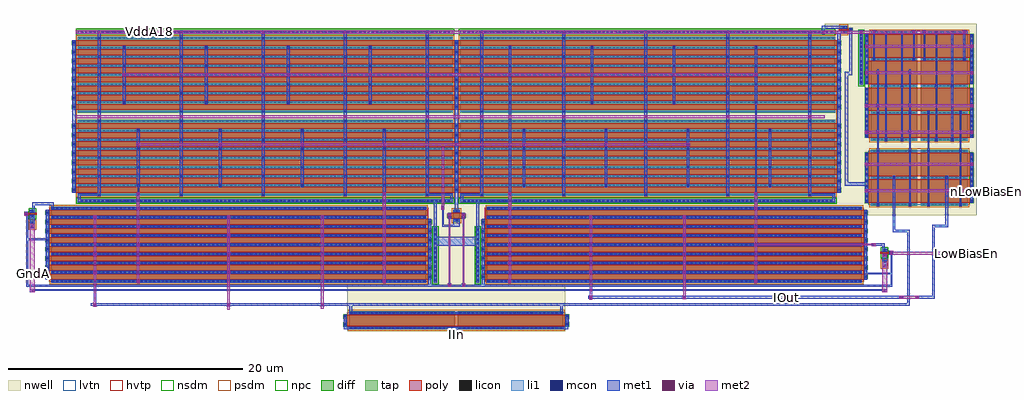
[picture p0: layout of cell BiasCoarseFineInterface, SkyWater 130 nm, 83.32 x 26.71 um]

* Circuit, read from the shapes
.subckt BiasCoarseFineInterface GndA IIn IOut LowBiasEn VddA18 nLowBiasEn
XM1 n1 LowBiasEn GndA GndA sky130_fd_pr__nfet_01v8 w=0.42 l=0.15
XM2 n2 LowBiasEn GndA GndA sky130_fd_pr__nfet_01v8 w=0.42 l=0.15
XM3 n3 LowBiasEn n1 VddA18 sky130_fd_pr__pfet_01v8_hvt w=32 l=0.5 m=8
XM4 n1 n4 VddA18 VddA18 sky130_fd_pr__pfet_01v8 w=32 l=0.5 m=16
XM5 n2 n4 VddA18 VddA18 sky130_fd_pr__pfet_01v8 w=32 l=0.5 m=16
XM6 n3 IIn IIn VddA18 sky130_fd_pr__pfet_01v8_lvt w=9 l=1 m=2
XM7 n4 LowBiasEn n1 VddA18 sky130_fd_pr__pfet_01v8 w=0.55 l=0.5
XM8 IOut LowBiasEn n2 VddA18 sky130_fd_pr__pfet_01v8_hvt w=32 l=0.5 m=8
XM9 VddA18 nLowBiasEn n4 VddA18 sky130_fd_pr__pfet_01v8 w=0.55 l=0.15
XM10 n3 nLowBiasEn n5 VddA18 sky130_fd_pr__pfet_01v8_lvt w=4 l=2 m=2
XM11 n5 n5 n6 VddA18 sky130_fd_pr__pfet_01v8 w=4 l=2 m=2
XM12 VddA18 n5 n6 VddA18 sky130_fd_pr__pfet_01v8 w=4 l=2 m=2
XM13 IOut nLowBiasEn n7 VddA18 sky130_fd_pr__pfet_01v8_lvt w=4 l=2 m=2
XM14 n7 n5 n8 VddA18 sky130_fd_pr__pfet_01v8 w=4 l=2 m=2
XM15 VddA18 n5 n8 VddA18 sky130_fd_pr__pfet_01v8 w=4 l=2 m=2
.ends

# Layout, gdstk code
import gdstk
lib = gdstk.Library(unit=1e-6, precision=1e-09)
def R(c, l, rs):  # rectangles x0, y0, x1, y1
    for r in rs: c.add(gdstk.rectangle(r[:2], r[2:], *l))
def A(c, l, x, y, w, h, nx, ny, dx, dy):  # array of equal rectangles
    R(c, l, [(x+i*dx, y+j*dy, x+i*dx+w, y+j*dy+h) for i in range(nx) for j in range(ny)])
nwell = (64, 20)
diff = (65, 20)
tap = (65, 44)
poly = (66, 20)
licon = (66, 44)
li1 = (67, 20)
mcon = (67, 44)
met1 = (68, 20)
via = (68, 44)
met2 = (69, 20)
hvtp = (78, 44)
nsdm = (93, 44)
psdm = (94, 20)
npc = (95, 20)
lvtn = (125, 44)

biascoarsefineinterface = lib.new_cell('BiasCoarseFineInterface')
R(biascoarsefineinterface, nwell, [(-20.365,-11.47,-1.725,-7.49), (-45.795,-7.49,23.765,-1.565), (-45.795,-1.565,33.38,-0.64), (-43.52,-0.64,33.38,14.415), (20.4,14.415,33.38,14.815)])
R(biascoarsefineinterface, diff, [(-20.185,-11.29,-11.185,-9.76), (-10.905,-11.29,-1.905,-9.76), (-45.615,-7.31,-13.615,-0.82), (-8.415,-7.31,23.585,-0.82), (25.315,-5.095,25.735,-4.415), (-11.29,-2.1,-10.74,-1.07), (-47.43,-1.765,-47.01,-1.085), (24.33,-0.75,28.33,4.06), (28.63,-0.75,32.63,4.06), (-43.34,0.1,-11.34,6.59), (-10.69,0.1,21.31,6.59), (24.33,4.81,28.33,14.18), (28.63,4.81,32.63,14.18), (-43.34,7.185,-11.34,13.675), (-10.69,7.185,21.31,13.675), (21.77,13.955,22.32,14.635)])
R(biascoarsefineinterface, tap, [(-12.965,-7.31,-12.675,-2.59), (-9.355,-7.31,-9.065,-2.59), (25.315,-6,25.735,-5.365), (-47.43,-2.67,-47.01,-2.035), (-43.34,-0.46,-11.34,-0.17), (-10.69,-0.46,21.31,-0.17), (23.39,9.58,23.68,14.18), (-43.34,13.945,-11.34,14.235), (-10.69,13.945,21.19,14.235)])
A(biascoarsefineinterface, poly, -46.075, -7.045, 32.92, 0.5, 1, 7, 0, 0.78)
A(biascoarsefineinterface, poly, -8.875, -7.045, 32.92, 0.5, 1, 7, 0, 0.78)
A(biascoarsefineinterface, poly, -43.8, 0.365, 65.57, 0.5, 1, 8, 0, 0.78)
A(biascoarsefineinterface, poly, 23.87, 5.075, 9.22, 2, 1, 4, 0, 2.28)
A(biascoarsefineinterface, poly, -43.8, 7.45, 65.57, 0.5, 1, 8, 0, 0.78)
R(biascoarsefineinterface, poly, [(-20.645,-11.025,-1.445,-10.025), (25.925,-4.92,26.195,-4.83), (25.165,-4.83,26.195,-4.68), (25.925,-4.68,26.195,-4.59), (-11.75,-1.835,-10.28,-1.335), (-47.89,-1.59,-47.62,-1.5), (-46.075,-1.585,-13.465,-1.085), (-8.565,-1.585,24.045,-1.085), (-47.89,-1.5,-46.86,-1.35), (-47.89,-1.35,-47.62,-1.26), (23.87,-0.485,33.09,1.515), (23.87,1.795,33.09,3.795), (22.51,14.13,22.78,14.22), (21.62,14.22,22.78,14.37), (22.51,14.37,22.78,14.46)])
A(biascoarsefineinterface, licon, -20.02, -11.25, 0.17, 0.17, 26, 2, 0.34, 1.28)
A(biascoarsefineinterface, licon, -10.74, -11.25, 0.17, 0.17, 26, 2, 0.34, 1.28)
A(biascoarsefineinterface, licon, -45.51, -7.27, 0.17, 0.17, 94, 9, 0.34, 0.78)
A(biascoarsefineinterface, licon, -8.31, -7.27, 0.17, 0.17, 94, 9, 0.34, 0.78)
A(biascoarsefineinterface, licon, -46.025, -6.88, 0.17, 0.17, 1, 8, 0, 0.78)
A(biascoarsefineinterface, licon, -13.375, -6.88, 0.17, 0.17, 1, 7, 0, 0.78)
A(biascoarsefineinterface, licon, -8.825, -6.88, 0.17, 0.17, 1, 7, 0, 0.78)
A(biascoarsefineinterface, licon, 23.825, -6.88, 0.17, 0.17, 1, 8, 0, 0.78)
A(biascoarsefineinterface, licon, 24.545, -0.71, 0.17, 0.17, 11, 3, 0.34, 2.28)
A(biascoarsefineinterface, licon, 28.845, -0.71, 0.17, 0.17, 11, 3, 0.34, 2.28)
A(biascoarsefineinterface, licon, 23.92, -0.405, 0.17, 0.17, 1, 3, 0, 0.415)
A(biascoarsefineinterface, licon, 32.87, -0.405, 0.17, 0.17, 1, 3, 0, 0.415)
A(biascoarsefineinterface, licon, -43.065, -0.4, 0.17, 0.17, 93, 2, 0.34, 14.405)
A(biascoarsefineinterface, licon, -10.415, -0.4, 0.17, 0.17, 93, 1, 0.34, 0)
A(biascoarsefineinterface, licon, -43.235, 0.14, 0.17, 0.17, 94, 9, 0.34, 0.78)
A(biascoarsefineinterface, licon, -10.585, 0.14, 0.17, 0.17, 94, 9, 0.34, 0.78)
A(biascoarsefineinterface, licon, -43.75, 0.53, 0.17, 0.17, 3, 8, 32.65, 0.78)
A(biascoarsefineinterface, licon, 23.92, 1.875, 0.17, 0.17, 1, 3, 0, 0.42)
A(biascoarsefineinterface, licon, 32.87, 1.875, 0.17, 0.17, 1, 3, 0, 0.42)
A(biascoarsefineinterface, licon, 24.545, 4.85, 0.17, 0.17, 11, 5, 0.34, 2.28)
A(biascoarsefineinterface, licon, 28.845, 4.85, 0.17, 0.17, 11, 5, 0.34, 2.28)
A(biascoarsefineinterface, licon, 23.92, 5.155, 0.17, 0.17, 1, 3, 0, 0.42)
A(biascoarsefineinterface, licon, 32.87, 5.155, 0.17, 0.17, 1, 3, 0, 0.42)
A(biascoarsefineinterface, licon, -43.235, 7.225, 0.17, 0.17, 94, 9, 0.34, 0.78)
A(biascoarsefineinterface, licon, -10.585, 7.225, 0.17, 0.17, 94, 9, 0.34, 0.78)
A(biascoarsefineinterface, licon, 23.92, 7.435, 0.17, 0.17, 1, 3, 0, 0.415)
A(biascoarsefineinterface, licon, 32.87, 7.435, 0.17, 0.17, 1, 3, 0, 0.415)
A(biascoarsefineinterface, licon, -43.75, 7.615, 0.17, 0.17, 3, 8, 32.65, 0.78)
A(biascoarsefineinterface, licon, 23.92, 9.715, 0.17, 0.17, 1, 3, 0, 0.415)
A(biascoarsefineinterface, licon, 32.87, 9.715, 0.17, 0.17, 1, 3, 0, 0.415)
A(biascoarsefineinterface, licon, 23.45, 9.785, 0.17, 0.17, 1, 6, 0, 0.34)
A(biascoarsefineinterface, licon, 23.92, 11.995, 0.17, 0.17, 1, 3, 0, 0.42)
A(biascoarsefineinterface, licon, 32.87, 11.995, 0.17, 0.17, 1, 3, 0, 0.42)
A(biascoarsefineinterface, licon, 23.45, 12.085, 0.17, 0.17, 1, 6, 0, 0.34)
A(biascoarsefineinterface, licon, -10.415, 14.005, 0.17, 0.17, 92, 1, 0.34, 0)
R(biascoarsefineinterface, licon, [(-20.595,-10.945,-20.425,-10.775), (-1.665,-10.945,-1.495,-10.775), (-20.595,-10.275,-20.425,-10.105), (-1.665,-10.275,-1.495,-10.105), (-12.905,-7.155,-12.735,-6.985), (-9.295,-7.155,-9.125,-6.985), (-12.905,-6.815,-12.735,-6.645), (-9.295,-6.815,-9.125,-6.645), (-12.905,-6.355,-12.735,-6.185), (-9.295,-6.355,-9.125,-6.185), (-12.905,-6.015,-12.735,-5.845), (-9.295,-6.015,-9.125,-5.845), (25.44,-5.94,25.61,-5.77), (25.44,-5.6,25.61,-5.43), (-12.905,-5.575,-12.735,-5.405), (-9.295,-5.575,-9.125,-5.405), (-12.905,-5.235,-12.735,-5.065), (-9.295,-5.235,-9.125,-5.065), (25.44,-5.055,25.61,-4.885), (25.975,-4.84,26.145,-4.67), (-12.905,-4.795,-12.735,-4.625), (-9.295,-4.795,-9.125,-4.625), (25.44,-4.625,25.61,-4.455), (-12.905,-4.455,-12.735,-4.285), (-9.295,-4.455,-9.125,-4.285), (-12.905,-4.015,-12.735,-3.845), (-9.295,-4.015,-9.125,-3.845), (-12.905,-3.675,-12.735,-3.505), (-9.295,-3.675,-9.125,-3.505), (-12.905,-3.235,-12.735,-3.065), (-9.295,-3.235,-9.125,-3.065), (-12.905,-2.895,-12.735,-2.725), (-9.295,-2.895,-9.125,-2.725), (-47.305,-2.61,-47.135,-2.44), (-47.305,-2.27,-47.135,-2.1), (-11.1,-2.06,-10.93,-1.89), (-47.305,-1.725,-47.135,-1.555), (-11.7,-1.67,-11.53,-1.5), (-10.5,-1.67,-10.33,-1.5), (-47.84,-1.51,-47.67,-1.34), (-47.305,-1.295,-47.135,-1.125), (-11.1,-1.28,-10.93,-1.11), (23.92,0.845,24.09,1.015), (32.87,0.845,33.04,1.015), (23.92,1.265,24.09,1.435), (32.87,1.265,33.04,1.435), (23.92,3.13,24.09,3.3), (32.87,3.13,33.04,3.3), (23.92,3.545,24.09,3.715), (32.87,3.545,33.04,3.715), (23.92,6.41,24.09,6.58), (32.87,6.41,33.04,6.58), (23.92,6.825,24.09,6.995), (32.87,6.825,33.04,6.995), (23.92,8.685,24.09,8.855), (32.87,8.685,33.04,8.855), (23.92,9.105,24.09,9.275), (32.87,9.105,33.04,9.275), (23.92,10.965,24.09,11.135), (32.87,10.965,33.04,11.135), (23.92,11.385,24.09,11.555), (32.87,11.385,33.04,11.555), (23.92,13.25,24.09,13.42), (32.87,13.25,33.04,13.42), (23.92,13.665,24.09,13.835), (32.87,13.665,33.04,13.835), (21.96,13.995,22.13,14.165), (20.87,14.005,21.04,14.175), (22.56,14.21,22.73,14.38), (21.96,14.425,22.13,14.595)])
A(biascoarsefineinterface, li1, -45.615, -7.27, 32, 0.17, 1, 9, 0, 0.78)
A(biascoarsefineinterface, li1, -8.415, -7.27, 32, 0.17, 1, 9, 0, 0.78)
A(biascoarsefineinterface, li1, 24.33, -0.71, 4, 0.17, 1, 3, 0, 2.28)
A(biascoarsefineinterface, li1, 28.63, -0.71, 4, 0.17, 1, 3, 0, 2.28)
A(biascoarsefineinterface, li1, -43.34, 0.14, 32, 0.17, 1, 9, 0, 0.78)
A(biascoarsefineinterface, li1, -10.69, 0.14, 32, 0.17, 1, 9, 0, 0.78)
A(biascoarsefineinterface, li1, -43.78, 0.365, 0.23, 5.96, 3, 2, 32.65, 7.085)
A(biascoarsefineinterface, li1, 24.33, 4.85, 4, 0.17, 1, 5, 0, 2.28)
A(biascoarsefineinterface, li1, 28.63, 4.85, 4, 0.17, 1, 5, 0, 2.28)
A(biascoarsefineinterface, li1, -43.34, 7.225, 32, 0.17, 1, 9, 0, 0.78)
A(biascoarsefineinterface, li1, -10.69, 7.225, 32, 0.17, 1, 9, 0, 0.78)
R(biascoarsefineinterface, li1, [(-20.165,-11.25,-1.905,-11.08), (-20.625,-11.025,-20.395,-10.025), (-1.695,-11.025,-1.465,-10.025), (-20.165,-9.97,-1.905,-9.8), (-12.955,-7.325,-12.685,-2.6), (-9.345,-7.325,-9.075,-2.6), (-46.055,-7.045,-45.825,-1.085), (-13.405,-7.045,-13.175,-1.865), (-8.855,-7.045,-8.625,-1.865), (23.795,-7.045,24.025,-1.085), (25.315,-5.99,25.735,-5.375), (25.315,-5.055,25.735,-4.885), (25.945,-4.92,26.175,-4.59), (25.315,-4.625,25.735,-4.455), (-47.43,-2.66,-47.01,-1.555), (-11.29,-2.06,-10.74,-1.89), (-11.73,-1.835,-11.5,-1.335), (-10.53,-1.835,-10.3,-1.335), (-47.87,-1.59,-47.64,-1.26), (-47.43,-1.295,-47.01,-1.125), (-11.29,-1.28,-10.74,-1.11), (23.89,-0.485,24.12,3.795), (32.84,-0.485,33.07,3.795), (-43.34,-0.45,-11.34,-0.18), (-10.69,-0.45,21.31,-0.18), (26.235,1.74,26.405,1.755), (30.75,1.74,30.92,1.755), (31.915,4.02,32.085,4.025), (23.89,5.075,24.12,9.355), (32.84,5.075,33.07,9.355), (23.4,9.59,23.67,14.17), (23.89,9.635,24.12,13.915), (32.84,9.635,33.07,13.915), (-43.34,13.955,-11.34,14.225), (-10.69,13.955,21.31,14.225), (29.86,13.965,30.03,13.97), (21.77,13.995,22.32,14.165), (22.53,14.13,22.76,14.46), (21.77,14.425,22.32,14.595)])
A(biascoarsefineinterface, mcon, -20.09, -11.25, 0.17, 0.17, 25, 2, 0.36, 1.28)
A(biascoarsefineinterface, mcon, -10.81, -11.25, 0.17, 0.17, 25, 2, 0.36, 1.28)
A(biascoarsefineinterface, mcon, -45.54, -7.27, 0.17, 0.17, 89, 9, 0.36, 0.78)
A(biascoarsefineinterface, mcon, -8.34, -7.27, 0.17, 0.17, 89, 9, 0.36, 0.78)
A(biascoarsefineinterface, mcon, -46.025, -6.88, 0.17, 0.17, 1, 8, 0, 0.78)
A(biascoarsefineinterface, mcon, -13.375, -6.88, 0.17, 0.17, 1, 7, 0, 0.78)
A(biascoarsefineinterface, mcon, -8.825, -6.88, 0.17, 0.17, 1, 7, 0, 0.78)
A(biascoarsefineinterface, mcon, 23.825, -6.88, 0.17, 0.17, 1, 8, 0, 0.78)
A(biascoarsefineinterface, mcon, 23.92, -0.405, 0.17, 0.17, 1, 3, 0, 0.415)
A(biascoarsefineinterface, mcon, 32.87, -0.405, 0.17, 0.17, 1, 3, 0, 0.415)
A(biascoarsefineinterface, mcon, -43.085, -0.4, 0.17, 0.17, 88, 2, 0.36, 14.405)
A(biascoarsefineinterface, mcon, -10.435, -0.4, 0.17, 0.17, 88, 2, 0.36, 14.405)
A(biascoarsefineinterface, mcon, -41.595, 0.14, 0.17, 0.17, 5, 5, 7, 1.56)
A(biascoarsefineinterface, mcon, -8.945, 0.14, 0.17, 0.17, 5, 5, 7, 1.56)
A(biascoarsefineinterface, mcon, -43.75, 0.53, 0.17, 0.17, 3, 8, 32.65, 0.78)
A(biascoarsefineinterface, mcon, -38.265, 0.92, 0.17, 0.17, 4, 4, 7, 1.56)
A(biascoarsefineinterface, mcon, -5.345, 0.92, 0.17, 0.17, 4, 4, 7, 1.56)
A(biascoarsefineinterface, mcon, 23.92, 1.875, 0.17, 0.17, 1, 3, 0, 0.42)
A(biascoarsefineinterface, mcon, 32.87, 1.875, 0.17, 0.17, 1, 3, 0, 0.42)
A(biascoarsefineinterface, mcon, 25.565, 4.85, 0.17, 0.17, 1, 3, 0, 4.56)
A(biascoarsefineinterface, mcon, 26.92, 4.85, 0.17, 0.17, 1, 3, 0, 4.56)
A(biascoarsefineinterface, mcon, 31.215, 4.85, 0.17, 0.17, 1, 3, 0, 4.56)
A(biascoarsefineinterface, mcon, 23.92, 5.155, 0.17, 0.17, 1, 3, 0, 0.42)
A(biascoarsefineinterface, mcon, 32.87, 5.155, 0.17, 0.17, 1, 3, 0, 0.42)
A(biascoarsefineinterface, mcon, -41.595, 7.225, 0.17, 0.17, 5, 5, 7, 1.56)
A(biascoarsefineinterface, mcon, -8.945, 7.225, 0.17, 0.17, 5, 5, 7, 1.56)
A(biascoarsefineinterface, mcon, 23.92, 7.435, 0.17, 0.17, 1, 3, 0, 0.415)
A(biascoarsefineinterface, mcon, 32.87, 7.435, 0.17, 0.17, 1, 3, 0, 0.415)
A(biascoarsefineinterface, mcon, -43.75, 7.615, 0.17, 0.17, 3, 8, 32.65, 0.78)
A(biascoarsefineinterface, mcon, -39.465, 8.005, 0.17, 0.17, 4, 4, 7, 1.56)
A(biascoarsefineinterface, mcon, -6.545, 8.005, 0.17, 0.17, 4, 4, 7, 1.56)
A(biascoarsefineinterface, mcon, 23.92, 9.715, 0.17, 0.17, 1, 3, 0, 0.415)
A(biascoarsefineinterface, mcon, 32.87, 9.715, 0.17, 0.17, 1, 3, 0, 0.415)
A(biascoarsefineinterface, mcon, 23.45, 9.735, 0.17, 0.17, 1, 6, 0, 0.36)
A(biascoarsefineinterface, mcon, 23.92, 11.995, 0.17, 0.17, 1, 3, 0, 0.42)
A(biascoarsefineinterface, mcon, 32.87, 11.995, 0.17, 0.17, 1, 3, 0, 0.42)
A(biascoarsefineinterface, mcon, 23.45, 12.035, 0.17, 0.17, 1, 6, 0, 0.36)
R(biascoarsefineinterface, mcon, [(-20.595,-10.945,-20.425,-10.775), (-1.665,-10.945,-1.495,-10.775), (-20.595,-10.275,-20.425,-10.105), (-1.665,-10.275,-1.495,-10.105), (-12.905,-7.165,-12.735,-6.995), (-9.295,-7.165,-9.125,-6.995), (-12.905,-6.805,-12.735,-6.635), (-9.295,-6.805,-9.125,-6.635), (-12.905,-6.365,-12.735,-6.195), (-9.295,-6.365,-9.125,-6.195), (-12.905,-6.005,-12.735,-5.835), (-9.295,-6.005,-9.125,-5.835), (25.44,-5.95,25.61,-5.78), (25.44,-5.59,25.61,-5.42), (-12.905,-5.585,-12.735,-5.415), (-9.295,-5.585,-9.125,-5.415), (-12.905,-5.225,-12.735,-5.055), (-9.295,-5.225,-9.125,-5.055), (25.44,-5.055,25.61,-4.885), (25.975,-4.84,26.145,-4.67), (-12.905,-4.805,-12.735,-4.635), (-9.295,-4.805,-9.125,-4.635), (25.44,-4.625,25.61,-4.455), (-12.905,-4.445,-12.735,-4.275), (-9.295,-4.445,-9.125,-4.275), (-12.905,-4.025,-12.735,-3.855), (-9.295,-4.025,-9.125,-3.855), (-12.905,-3.665,-12.735,-3.495), (-9.295,-3.665,-9.125,-3.495), (-12.905,-3.245,-12.735,-3.075), (-9.295,-3.245,-9.125,-3.075), (-12.905,-2.885,-12.735,-2.715), (-9.295,-2.885,-9.125,-2.715), (-47.305,-2.62,-47.135,-2.45), (-47.305,-2.26,-47.135,-2.09), (-11.1,-2.06,-10.93,-1.89), (-47.305,-1.725,-47.135,-1.555), (-11.7,-1.67,-11.53,-1.5), (-10.5,-1.67,-10.33,-1.5), (-47.84,-1.51,-47.67,-1.34), (-47.305,-1.295,-47.135,-1.125), (-11.1,-1.28,-10.93,-1.11), (24.875,-0.71,25.045,-0.54), (27.605,-0.71,27.775,-0.54), (29.18,-0.71,29.35,-0.54), (31.915,-0.71,32.085,-0.54), (23.92,0.845,24.09,1.015), (32.87,0.845,33.04,1.015), (23.92,1.265,24.09,1.435), (32.87,1.265,33.04,1.435), (26.235,1.585,26.405,1.755), (30.75,1.585,30.92,1.755), (23.92,3.13,24.09,3.3), (32.87,3.13,33.04,3.3), (23.92,3.545,24.09,3.715), (32.87,3.545,33.04,3.715), (24.875,3.85,25.045,4.02), (27.605,3.85,27.775,4.02), (29.18,3.85,29.35,4.02), (31.915,3.855,32.085,4.025), (29.86,4.85,30.03,5.02), (23.92,6.41,24.09,6.58), (32.87,6.41,33.04,6.58), (23.92,6.825,24.09,6.995), (32.87,6.825,33.04,6.995), (24.875,7.13,25.045,7.3), (27.605,7.13,27.775,7.3), (29.18,7.13,29.35,7.3), (31.915,7.13,32.085,7.3), (23.92,8.685,24.09,8.855), (32.87,8.685,33.04,8.855), (23.92,9.105,24.09,9.275), (32.87,9.105,33.04,9.275), (29.86,9.41,30.03,9.58), (23.92,10.965,24.09,11.135), (32.87,10.965,33.04,11.135), (23.92,11.385,24.09,11.555), (32.87,11.385,33.04,11.555), (24.545,11.69,24.715,11.86), (27.94,11.69,28.11,11.86), (28.845,11.69,29.015,11.86), (32.24,11.69,32.41,11.86), (23.92,13.25,24.09,13.42), (32.87,13.25,33.04,13.42), (23.92,13.665,24.09,13.835), (32.87,13.665,33.04,13.835), (29.86,13.965,30.03,14.135), (21.96,13.995,22.13,14.165), (22.56,14.21,22.73,14.38), (21.96,14.425,22.13,14.595)])
A(biascoarsefineinterface, met1, -45.615, -7.3, 32, 0.23, 1, 9, 0, 0.78)
A(biascoarsefineinterface, met1, -8.415, -7.3, 32, 0.23, 1, 9, 0, 0.78)
A(biascoarsefineinterface, met1, -34.625, 0.08, 0.23, 6.63, 3, 1, 7, 0)
A(biascoarsefineinterface, met1, -1.975, 0.08, 0.23, 6.63, 3, 1, 7, 0)
A(biascoarsefineinterface, met1, -38.295, 0.86, 0.23, 3.475, 3, 1, 7, 0)
A(biascoarsefineinterface, met1, -5.375, 0.86, 0.23, 3.475, 3, 1, 7, 0)
A(biascoarsefineinterface, met1, -38.31, 4.335, 0.26, 0.32, 4, 1, 7, 0)
A(biascoarsefineinterface, met1, -38.295, 4.655, 0.23, 1.175, 4, 1, 7, 0)
A(biascoarsefineinterface, met1, -5.375, 4.655, 0.23, 1.175, 3, 1, 7, 0)
A(biascoarsefineinterface, met1, 25.535, 4.79, 0.23, 0.29, 1, 3, 0, 4.56)
A(biascoarsefineinterface, met1, 26.89, 4.79, 0.23, 0.29, 1, 3, 0, 4.56)
A(biascoarsefineinterface, met1, 31.185, 4.79, 0.23, 0.29, 1, 3, 0, 4.56)
A(biascoarsefineinterface, met1, -41.64, 6.71, 0.26, 0.32, 5, 1, 7, 0)
A(biascoarsefineinterface, met1, -8.99, 6.71, 0.26, 0.32, 5, 1, 7, 0)
A(biascoarsefineinterface, met1, -41.625, 7.03, 0.23, 6.895, 5, 1, 7, 0)
A(biascoarsefineinterface, met1, -8.975, 7.03, 0.23, 6.895, 5, 1, 7, 0)
A(biascoarsefineinterface, met1, -39.495, 7.945, 0.23, 2.345, 4, 1, 7, 0)
A(biascoarsefineinterface, met1, -39.51, 10.29, 0.26, 0.32, 4, 1, 7, 0)
A(biascoarsefineinterface, met1, -39.495, 10.61, 0.23, 2.305, 4, 1, 7, 0)
A(biascoarsefineinterface, met1, -41.64, 13.925, 0.26, 0.03, 5, 1, 7, 0)
A(biascoarsefineinterface, met1, -8.99, 13.925, 0.26, 0.03, 5, 1, 7, 0)
A(biascoarsefineinterface, met1, -41.64, 14.225, 0.26, 0.02, 5, 1, 7, 0)
A(biascoarsefineinterface, met1, -8.99, 14.225, 0.26, 0.02, 5, 1, 7, 0)
A(biascoarsefineinterface, met1, -41.625, 14.245, 0.23, 0.005, 5, 1, 7, 0)
A(biascoarsefineinterface, met1, -8.975, 14.245, 0.23, 0.005, 5, 1, 7, 0)
R(biascoarsefineinterface, met1, [(-11.15,-11.89,-10.92,-11.28), (-20.645,-11.28,-1.485,-11.05), (-20.645,-11.05,-20.375,-10.025), (-1.715,-11.05,-1.485,-11.025), (-1.715,-11.025,-1.445,-10.025), (-20.165,-10,-1.905,-9.77), (-20.165,-9.77,-19.935,-9.285), (-2.18,-9.77,-1.95,-9.285), (-42.055,-9.3,-41.735,-9.285), (-30.63,-9.3,-30.31,-9.285), (-22.645,-9.3,-22.325,-9.285), (-42.245,-9.285,27.695,-9.055), (-42.055,-9.055,-41.735,-9.04), (-30.63,-9.055,-30.31,-9.04), (-22.645,-9.055,-22.325,-9.04), (27.465,-9.055,27.695,-3.01), (0.295,-8.685,0.615,-8.67), (8.28,-8.685,8.6,-8.67), (26.78,-8.685,27.1,-8.67), (28.16,-8.685,28.48,-8.67), (0.22,-8.67,27.1,-8.44), (28.16,-8.67,29.83,-8.44), (0.295,-8.44,0.615,-8.425), (8.28,-8.44,8.6,-8.425), (26.78,-8.44,27.1,-8.425), (28.16,-8.44,28.48,-8.425), (29.6,-8.44,29.83,-2.59), (-47.43,-8.13,-47.01,-8.01), (25.315,-8.13,25.735,-8.01), (-47.43,-8.01,25.735,-7.87), (-47.735,-7.63,26.2,-7.49), (-47.735,-7.49,-47.595,-3.66), (-13.425,-7.49,-13.155,-1.865), (-11.775,-7.49,-11.455,-7.37), (-10.575,-7.49,-10.255,-7.37), (-8.875,-7.49,-8.605,-1.865), (26.06,-7.49,26.2,-6.6), (-38.355,-7.315,-38.035,-7.3), (-17.34,-7.315,-17.02,-7.3), (-6.635,-7.315,-6.315,-7.3), (14.365,-7.315,14.685,-7.3), (-12.955,-7.3,-12.685,-4.14), (-9.345,-7.3,-9.075,-4.14), (-38.355,-7.07,-38.035,-7.055), (-17.34,-7.07,-17.02,-7.055), (-6.635,-7.07,-6.315,-7.055), (14.365,-7.07,14.685,-7.055), (-46.075,-7.045,-45.805,-3.66), (23.775,-7.045,24.045,-6.6), (23.775,-6.6,26.2,-6.46), (-42.04,-6.535,-41.72,-6.52), (-30.63,-6.535,-30.31,-6.52), (-22.645,-6.535,-22.325,-6.52), (0.295,-6.535,0.615,-6.52), (8.28,-6.535,8.6,-6.52), (23.775,-6.46,24.045,-1.085), (26.06,-6.46,26.2,-4.92), (-42.04,-6.29,-41.72,-6.275), (-30.63,-6.29,-30.31,-6.275), (-22.645,-6.29,-22.325,-6.275), (0.295,-6.29,0.615,-6.275), (8.28,-6.29,8.6,-6.275), (25.315,-6,25.735,-4.84), (-38.355,-5.755,-38.035,-5.74), (-17.34,-5.755,-17.02,-5.74), (-6.635,-5.755,-6.315,-5.74), (14.365,-5.755,14.685,-5.74), (-38.355,-5.51,-38.035,-5.495), (-17.34,-5.51,-17.02,-5.495), (-6.635,-5.51,-6.315,-5.495), (14.365,-5.51,14.685,-5.495), (-42.04,-4.975,-41.72,-4.96), (-30.63,-4.975,-30.31,-4.96), (-22.645,-4.975,-22.325,-4.96), (0.295,-4.975,0.615,-4.96), (8.28,-4.975,8.6,-4.96), (25.925,-4.92,26.255,-4.59), (-42.04,-4.73,-41.72,-4.715), (-30.63,-4.73,-30.31,-4.715), (-22.645,-4.73,-22.325,-4.715), (0.295,-4.73,0.615,-4.715), (8.28,-4.73,8.6,-4.715), (25.315,-4.655,25.735,-4.425), (25.315,-4.425,25.545,-4.16), (-38.355,-4.195,-38.035,-4.18), (-17.34,-4.195,-17.02,-4.18), (-6.635,-4.195,-6.315,-4.18), (14.365,-4.195,14.685,-4.18), (24.415,-4.18,24.755,-4.16), (24.415,-4.16,25.545,-3.93), (-12.955,-4.14,-9.075,-3.38), (-38.355,-3.95,-38.035,-3.935), (-17.34,-3.95,-17.02,-3.935), (-6.635,-3.95,-6.315,-3.935), (14.365,-3.95,14.685,-3.935), (24.415,-3.93,24.755,-3.92), (-47.735,-3.66,-45.805,-3.52), (-47.735,-3.52,-47.595,-1.605), (-46.075,-3.52,-45.805,-1.085), (-42.04,-3.415,-41.72,-3.4), (-30.63,-3.415,-30.31,-3.4), (-22.645,-3.415,-22.325,-3.4), (0.295,-3.415,0.615,-3.4), (8.28,-3.415,8.6,-3.4), (-12.955,-3.38,-12.685,-0.45), (-9.345,-3.38,-9.075,-0.45), (-42.04,-3.17,-41.72,-3.155), (-30.63,-3.17,-30.31,-3.155), (-22.645,-3.17,-22.325,-3.155), (0.295,-3.17,0.615,-3.155), (8.28,-3.17,8.6,-3.155), (26.205,-3.01,27.695,-2.78), (26.205,-2.78,26.435,1.815), (-47.43,-2.66,-47.01,-1.525), (-38.355,-2.635,-38.035,-2.62), (-17.34,-2.635,-17.02,-2.62), (-6.635,-2.635,-6.315,-2.62), (14.365,-2.635,14.685,-2.62), (29.6,-2.59,30.95,-2.36), (-12.25,-2.51,-10.74,-2.37), (-38.355,-2.39,-38.035,-2.375), (-17.34,-2.39,-17.02,-2.375), (-6.635,-2.39,-6.315,-2.375), (14.365,-2.39,14.685,-2.375), (-12.25,-2.37,-12.11,-1.075), (-11.29,-2.37,-10.74,-1.86), (30.72,-2.36,30.95,1.815), (-42.04,-1.855,-41.72,-1.84), (-30.63,-1.855,-30.31,-1.84), (-22.645,-1.855,-22.325,-1.84), (0.295,-1.855,0.615,-1.84), (8.28,-1.855,8.6,-1.84), (-11.75,-1.835,-11.48,-1.325), (-10.55,-1.835,-10.28,-1.325), (-42.04,-1.61,-41.72,-1.595), (-30.63,-1.61,-30.31,-1.595), (-22.645,-1.61,-22.325,-1.595), (0.295,-1.61,0.615,-1.595), (8.28,-1.61,8.6,-1.595), (-47.89,-1.605,-47.595,-1.315), (-47.43,-1.325,-47.01,-1.095), (-47.89,-1.315,-47.62,-1.26), (-11.29,-1.31,-10.74,-1.08), (-47.24,-1.095,-47.01,-0.675), (-11.15,-1.08,-10.88,13.41), (-12.31,-1.075,-12.05,-0.755), (-45.615,-0.83,-45.385,-0.675), (-38.355,-0.83,-38.035,-0.8), (-17.34,-0.83,-17.02,-0.8), (-6.635,-0.83,-6.315,-0.8), (14.365,-0.83,14.685,-0.8), (24.845,-0.77,25.075,-0.48), (27.575,-0.77,27.805,-0.48), (29.15,-0.77,29.38,-0.48), (31.885,-0.77,32.115,-0.48), (-47.24,-0.675,-45.385,-0.445), (23.87,-0.485,24.14,0.985), (32.82,-0.485,33.09,3.795), (24.89,-0.48,25.03,3.79), (27.62,-0.48,27.76,3.79), (29.195,-0.48,29.335,3.79), (31.93,-0.48,32.07,3.795), (-43.34,-0.45,-11.34,-0.18), (-10.69,-0.45,21.31,-0.18), (-43.34,-0.18,-43.11,0.11), (-11.57,-0.18,-11.34,0.11), (-10.69,-0.18,-10.46,0.11), (21.08,-0.18,21.31,0.11), (-41.625,0.08,-41.395,0.11), (-13.625,0.08,-13.395,0.11), (-8.975,0.08,-8.745,0.11), (19.025,0.08,19.255,0.11), (-38.325,0.1,-38.065,0.42), (-17.31,0.1,-17.05,0.42), (-6.59,0.1,-6.33,0.42), (14.41,0.1,14.67,0.42), (-43.34,0.11,-41.395,0.34), (-13.625,0.11,-11.34,0.34), (-10.69,0.11,-8.745,0.34), (19.025,0.11,21.31,0.34), (-41.625,0.34,-41.395,6.71), (-13.625,0.34,-13.395,6.71), (-8.975,0.34,-8.745,6.71), (19.025,0.34,19.255,6.71), (-43.8,0.365,-43.53,13.41), (21.5,0.365,21.77,13.965), (-38.25,0.42,-38.11,0.86), (-17.295,0.42,-17.065,4.335), (-6.575,0.42,-6.345,10.29), (14.47,0.42,14.61,7.945), (15.625,0.86,15.855,5.83), (22.145,0.985,24.14,1.255), (22.145,1.255,22.415,10.415), (23.87,1.255,24.14,3.795), (24.845,3.79,25.075,4.08), (27.575,3.79,27.805,4.08), (29.15,3.79,29.38,4.08), (31.885,3.795,32.115,4.085), (24.89,4.08,25.03,5.39), (27.62,4.08,27.76,5.39), (29.195,4.08,29.335,7.07), (31.93,4.085,32.07,7.07), (-5.39,4.335,-5.13,4.655), (1.61,4.335,1.87,4.655), (8.595,4.335,8.855,4.655), (29.83,4.79,30.06,5.08), (23.87,5.075,24.14,9.355), (32.82,5.075,33.09,9.355), (25.58,5.08,25.72,9.35), (26.935,5.08,27.075,9.35), (29.875,5.08,30.015,9.35), (31.23,5.08,31.37,9.35), (24.83,5.39,25.09,5.71), (27.56,5.39,27.82,5.71), (24.89,5.71,25.03,7.07), (27.62,5.71,27.76,7.07), (24.845,7.07,25.075,7.36), (27.575,7.07,27.805,7.36), (29.15,7.07,29.38,7.36), (31.885,7.07,32.115,7.36), (24.89,7.36,25.03,7.655), (27.62,7.36,27.76,7.655), (29.195,7.36,29.335,7.365), (31.93,7.36,32.07,7.38), (24.83,7.655,25.09,7.975), (27.56,7.655,27.82,7.975), (0.425,7.945,0.655,10.29), (7.425,7.945,7.655,10.305), (14.425,7.945,14.655,10.29), (24.89,7.975,25.03,10.47), (27.62,7.975,27.76,10.47), (29.83,9.35,30.06,9.64), (23.4,9.59,23.67,14.245), (23.87,9.635,24.14,13.915), (32.82,9.635,33.09,13.915), (25.58,9.64,25.72,13.91), (26.935,9.64,27.075,13.91), (29.875,9.64,30.015,13.905), (31.23,9.64,31.37,13.91), (-6.59,10.29,-6.33,10.61), (0.41,10.29,0.67,10.61), (14.41,10.29,14.67,10.61), (7.41,10.305,7.67,10.625), (22.145,10.415,22.78,10.685), (24.83,10.47,25.09,10.79), (27.56,10.47,27.82,10.79), (-6.575,10.61,-6.345,12.915), (0.425,10.61,0.655,12.915), (14.425,10.61,14.655,12.915), (7.425,10.625,7.655,12.915), (22.51,10.685,22.78,14.46), (24.89,10.79,25.03,10.9), (27.62,10.79,27.76,10.915), (24.515,11.63,24.745,11.92), (27.91,11.63,28.14,11.92), (28.815,11.63,29.045,11.92), (32.21,11.63,32.44,11.92), (24.56,11.92,24.7,13.93), (27.955,11.92,28.095,13.93), (28.86,11.92,29,13.93), (32.255,11.92,32.395,13.93), (29.83,13.905,30.06,14.195), (20.155,13.925,20.415,13.955), (24.5,13.93,24.76,14.25), (27.895,13.93,28.155,14.25), (28.8,13.93,29.06,14.25), (32.195,13.93,32.455,14.25), (-43.34,13.955,-11.34,14.225), (-10.69,13.955,21.31,14.225), (21.5,13.965,22.32,14.195), (25.58,14.2,25.72,14.205), (20.155,14.225,20.415,14.245), (20.17,14.245,20.4,14.395), (20.17,14.395,22.32,14.625)])
A(biascoarsefineinterface, via, -38.27, -7.26, 0.15, 0.15, 1, 4, 0, 1.56)
A(biascoarsefineinterface, via, -17.255, -7.26, 0.15, 0.15, 1, 4, 0, 1.56)
A(biascoarsefineinterface, via, -6.55, -7.26, 0.15, 0.15, 1, 4, 0, 1.56)
A(biascoarsefineinterface, via, 14.45, -7.26, 0.15, 0.15, 1, 4, 0, 1.56)
A(biascoarsefineinterface, via, -41.955, -6.48, 0.15, 0.15, 1, 4, 0, 1.56)
A(biascoarsefineinterface, via, -30.545, -6.48, 0.15, 0.15, 1, 4, 0, 1.56)
A(biascoarsefineinterface, via, -22.56, -6.48, 0.15, 0.15, 1, 4, 0, 1.56)
A(biascoarsefineinterface, via, 0.38, -6.48, 0.15, 0.15, 1, 4, 0, 1.56)
A(biascoarsefineinterface, via, 8.365, -6.48, 0.15, 0.15, 1, 4, 0, 1.56)
A(biascoarsefineinterface, via, -38.255, 4.42, 0.15, 0.15, 4, 1, 7, 0)
A(biascoarsefineinterface, via, -41.585, 6.795, 0.15, 0.15, 5, 2, 7, 7.215)
A(biascoarsefineinterface, via, -8.935, 6.795, 0.15, 0.15, 5, 2, 7, 7.215)
A(biascoarsefineinterface, via, -39.455, 10.375, 0.15, 0.15, 4, 1, 7, 0)
R(biascoarsefineinterface, via, [(-41.97,-9.245,-41.82,-9.095), (-30.545,-9.245,-30.395,-9.095), (-22.56,-9.245,-22.41,-9.095), (0.38,-8.63,0.53,-8.48), (8.365,-8.63,8.515,-8.48), (26.865,-8.63,27.015,-8.48), (28.245,-8.63,28.395,-8.48), (-47.295,-8.075,-47.145,-7.925), (25.45,-8.075,25.6,-7.925), (-11.69,-7.575,-11.54,-7.425), (-10.49,-7.575,-10.34,-7.425), (25.45,-5.945,25.6,-5.795), (25.45,-5.045,25.6,-4.895), (26.05,-4.83,26.2,-4.68), (24.51,-4.125,24.66,-3.975), (-47.295,-2.545,-47.145,-2.395), (-11.69,-1.56,-11.54,-1.41), (-10.49,-1.56,-10.34,-1.41), (-47.83,-1.52,-47.68,-1.37), (-38.27,-1.005,-38.12,-0.855), (-17.255,-1.005,-17.105,-0.855), (-6.55,-1.005,-6.4,-0.855), (14.45,-1.005,14.6,-0.855), (-12.255,-0.99,-12.105,-0.84), (-38.27,0.185,-38.12,0.335), (-17.255,0.185,-17.105,0.335), (-6.535,0.185,-6.385,0.335), (14.465,0.185,14.615,0.335), (23.93,0.475,24.08,0.625), (32.88,0.475,33.03,0.625), (23.93,2.74,24.08,2.89), (32.88,2.74,33.03,2.89), (-5.335,4.42,-5.185,4.57), (1.665,4.42,1.815,4.57), (8.65,4.42,8.8,4.57), (23.93,5.475,24.08,5.625), (24.885,5.475,25.035,5.625), (27.615,5.475,27.765,5.625), (32.88,5.475,33.03,5.625), (23.93,7.74,24.08,7.89), (24.885,7.74,25.035,7.89), (27.615,7.74,27.765,7.89), (32.88,7.74,33.03,7.89), (-6.535,10.375,-6.385,10.525), (0.465,10.375,0.615,10.525), (14.465,10.375,14.615,10.525), (7.465,10.39,7.615,10.54), (23.93,10.555,24.08,10.705), (24.885,10.555,25.035,10.705), (27.615,10.555,27.765,10.705), (32.88,10.555,33.03,10.705), (23.93,12.82,24.08,12.97), (32.88,12.82,33.03,12.97), (20.21,14.01,20.36,14.16), (23.46,14.01,23.61,14.16), (24.555,14.015,24.705,14.165), (27.95,14.015,28.1,14.165), (28.855,14.015,29.005,14.165), (32.25,14.015,32.4,14.165)])
A(biascoarsefineinterface, met2, -38.325, -7.345, 0.26, 0.32, 1, 4, 0, 1.56)
A(biascoarsefineinterface, met2, -17.31, -7.345, 0.26, 0.32, 1, 4, 0, 1.56)
A(biascoarsefineinterface, met2, -6.605, -7.345, 0.26, 0.32, 1, 4, 0, 1.56)
A(biascoarsefineinterface, met2, -38.31, -7.025, 0.23, 1.24, 1, 3, 0, 1.56)
A(biascoarsefineinterface, met2, -17.295, -7.025, 0.23, 1.24, 1, 3, 0, 1.56)
A(biascoarsefineinterface, met2, -6.575, -7.025, 0.23, 1.24, 1, 3, 0, 1.56)
A(biascoarsefineinterface, met2, 14.425, -7.025, 0.23, 1.24, 1, 3, 0, 1.56)
A(biascoarsefineinterface, met2, -42.01, -6.565, 0.26, 0.32, 1, 4, 0, 1.56)
A(biascoarsefineinterface, met2, -30.6, -6.565, 0.26, 0.32, 1, 4, 0, 1.56)
A(biascoarsefineinterface, met2, -22.615, -6.565, 0.26, 0.32, 1, 4, 0, 1.56)
A(biascoarsefineinterface, met2, 0.325, -6.565, 0.26, 0.32, 1, 4, 0, 1.56)
A(biascoarsefineinterface, met2, 8.31, -6.565, 0.26, 0.32, 1, 4, 0, 1.56)
A(biascoarsefineinterface, met2, -41.995, -6.245, 0.23, 1.24, 1, 3, 0, 1.56)
A(biascoarsefineinterface, met2, -30.585, -6.245, 0.23, 1.24, 1, 3, 0, 1.56)
A(biascoarsefineinterface, met2, -22.6, -6.245, 0.23, 1.24, 1, 3, 0, 1.56)
A(biascoarsefineinterface, met2, 0.34, -6.245, 0.23, 1.24, 1, 3, 0, 1.56)
A(biascoarsefineinterface, met2, 8.325, -6.245, 0.23, 1.24, 1, 3, 0, 1.56)
A(biascoarsefineinterface, met2, -38.34, 4.365, 0.32, 0.015, 4, 2, 7, 0.245)
A(biascoarsefineinterface, met2, -39.54, 10.32, 0.32, 0.015, 4, 2, 7, 0.245)
R(biascoarsefineinterface, met2, [(-30.585,-9.61,-30.355,-9.33), (-22.6,-9.545,-22.37,-9.33), (-41.995,-9.36,-41.765,-9.33), (-42.025,-9.33,-41.765,-9.01), (-30.6,-9.33,-30.34,-9.01), (-22.615,-9.33,-22.355,-9.01), (-41.995,-9.01,-41.765,-6.565), (-30.585,-9.01,-30.355,-6.565), (-22.6,-9.01,-22.37,-6.565), (0.34,-8.74,0.57,-8.715), (8.325,-8.72,8.555,-8.715), (0.325,-8.715,0.585,-8.395), (8.31,-8.715,8.57,-8.395), (26.78,-8.685,27.1,-8.67), (28.16,-8.685,28.48,-8.67), (26.78,-8.67,28.48,-8.44), (26.78,-8.44,27.1,-8.425), (28.16,-8.44,28.48,-8.425), (0.34,-8.395,0.57,-6.565), (8.325,-8.395,8.555,-6.565), (-47.43,-8.13,-47.01,-2.275), (25.315,-8.13,25.735,-5.515), (-11.745,-7.66,-11.485,-7.34), (-10.545,-7.66,-10.285,-7.34), (14.395,-7.345,14.655,-7.025), (-11.685,-7.34,-11.545,-1.615), (-10.485,-7.34,-10.345,-1.615), (14.395,-5.785,14.655,-5.465), (25.315,-5.1,25.735,-4.84), (25.995,-4.92,33.005,-4.65), (25.995,-4.65,26.255,-4.59), (14.395,-4.225,14.655,-4.12), (24.415,-4.18,24.755,-4.12), (14.395,-4.12,24.755,-3.98), (14.395,-3.98,14.655,-3.905), (24.415,-3.98,24.755,-3.92), (14.395,-2.665,14.655,-2.345), (-38.31,-2.345,-38.08,-1.09), (-17.295,-2.345,-17.065,-1.09), (-6.575,-2.345,-6.345,-1.09), (14.425,-2.345,14.655,-1.09), (-11.775,-1.615,-11.455,-1.355), (-10.575,-1.615,-10.255,-1.355), (-47.915,-1.575,-47.595,-1.315), (-38.325,-1.09,-38.065,-0.77), (-17.31,-1.09,-17.05,-0.77), (-6.605,-1.09,-6.345,-0.77), (14.395,-1.09,14.655,-0.77), (-12.31,-1.075,-12.05,-0.755), (-38.31,-0.77,-38.08,0.1), (-17.295,-0.77,-17.065,0.1), (-6.575,-0.77,-6.345,0.1), (14.425,-0.77,14.655,0.1), (-12.295,-0.755,-12.065,4.38), (-38.325,0.1,-38.065,0.42), (-17.31,0.1,-17.05,0.42), (-6.59,0.1,-6.33,0.42), (14.41,0.1,14.67,0.42), (23.845,0.42,35.38,0.68), (23.845,2.685,33.115,2.945), (-5.42,4.365,-5.1,4.38), (1.58,4.365,1.9,4.38), (8.565,4.365,8.885,4.38), (-38.34,4.38,8.95,4.61), (-5.42,4.61,-5.1,4.625), (1.58,4.61,1.9,4.625), (8.565,4.61,8.885,4.625), (23.845,5.42,33.115,5.68), (-43.525,6.74,20.4,7), (23.845,7.685,33.115,7.945), (-6.62,10.32,-6.3,10.335), (0.38,10.32,0.7,10.335), (14.38,10.32,14.7,10.335), (-39.54,10.335,14.7,10.565), (23.845,10.5,33.115,10.76), (-6.62,10.565,-6.3,10.58), (0.38,10.565,0.7,10.58), (7.38,10.565,7.7,10.595), (14.38,10.565,14.7,10.58), (23.845,12.765,33.115,13.025), (-43.525,13.955,32.585,14.225)])
R(biascoarsefineinterface, hvtp, [(-45.795,-7.225,-13.435,-0.905), (-8.595,-7.225,23.765,-0.905)])
R(biascoarsefineinterface, nsdm, [(-13.09,-7.435,-12.55,-2.465), (-9.48,-7.435,-8.94,-2.465), (25.19,-5.22,25.86,-4.29), (-47.555,-1.89,-46.885,-0.96), (-43.465,-0.585,-11.215,-0.045), (-10.815,-0.585,21.435,-0.045), (23.265,9.455,23.805,14.305), (-43.465,13.82,-11.215,14.36), (-10.815,13.82,21.315,14.36)])
R(biascoarsefineinterface, psdm, [(-20.31,-11.415,-1.78,-9.635), (-45.74,-7.435,-13.49,-0.695), (-8.54,-7.435,23.71,-0.695), (25.19,-6.125,25.86,-5.24), (-47.555,-2.795,-46.885,-1.91), (-11.415,-2.225,-10.615,-0.945), (24.205,-0.875,32.755,4.185), (-43.465,-0.025,-11.215,13.8), (-10.815,-0.025,21.435,13.425), (24.205,4.685,32.755,14.305), (-10.815,13.425,21.73,13.8), (21.35,13.8,21.73,13.83), (21.35,13.83,22.445,14.205), (21.645,14.205,22.445,14.76)])
A(biascoarsefineinterface, npc, -46.125, -6.98, 0.37, 0.37, 1, 8, 0, 0.78)
A(biascoarsefineinterface, npc, -13.475, -6.98, 0.37, 0.37, 1, 7, 0, 0.78)
A(biascoarsefineinterface, npc, -8.925, -6.98, 0.37, 0.37, 1, 7, 0, 0.78)
A(biascoarsefineinterface, npc, 23.725, -6.98, 0.37, 0.37, 1, 8, 0, 0.78)
A(biascoarsefineinterface, npc, -43.85, 0.43, 0.37, 0.37, 3, 8, 32.65, 0.78)
A(biascoarsefineinterface, npc, -43.85, 7.515, 0.37, 0.37, 3, 8, 32.65, 0.78)
R(biascoarsefineinterface, npc, [(-20.695,-11.045,-20.325,-10.675), (-1.765,-11.045,-1.395,-10.675), (-20.695,-10.375,-20.325,-10.005), (-1.765,-10.375,-1.395,-10.005), (25.875,-4.94,26.245,-4.57), (-11.8,-1.77,-11.43,-1.4), (-10.6,-1.77,-10.23,-1.4), (-47.94,-1.61,-47.57,-1.24), (23.82,-0.505,24.19,3.815), (32.77,-0.505,33.14,3.815), (23.82,5.055,24.19,13.935), (32.77,5.055,33.14,13.935), (22.46,14.11,22.83,14.48)])
R(biascoarsefineinterface, lvtn, [(-20.365,-11.205,-1.725,-9.845), (24.15,-0.665,32.81,3.975)])
biascoarsefineinterface.add(gdstk.Label('VddA18', (-37.195,14.12), layer=69, texttype=5))
biascoarsefineinterface.add(gdstk.Label('nLowBiasEn', (34.62,0.48), layer=69, texttype=5))
biascoarsefineinterface.add(gdstk.Label('LowBiasEn', (32.56,-4.775), layer=69, texttype=5))
biascoarsefineinterface.add(gdstk.Label('GndA', (-47.155,-6.495), layer=69, texttype=5))
biascoarsefineinterface.add(gdstk.Label('IOut', (17.115,-8.56), layer=68, texttype=5))
biascoarsefineinterface.add(gdstk.Label('IIn', (-11.04,-11.69), layer=68, texttype=5))

lib.write_gds('BiasCoarseFineInterface.gds')
